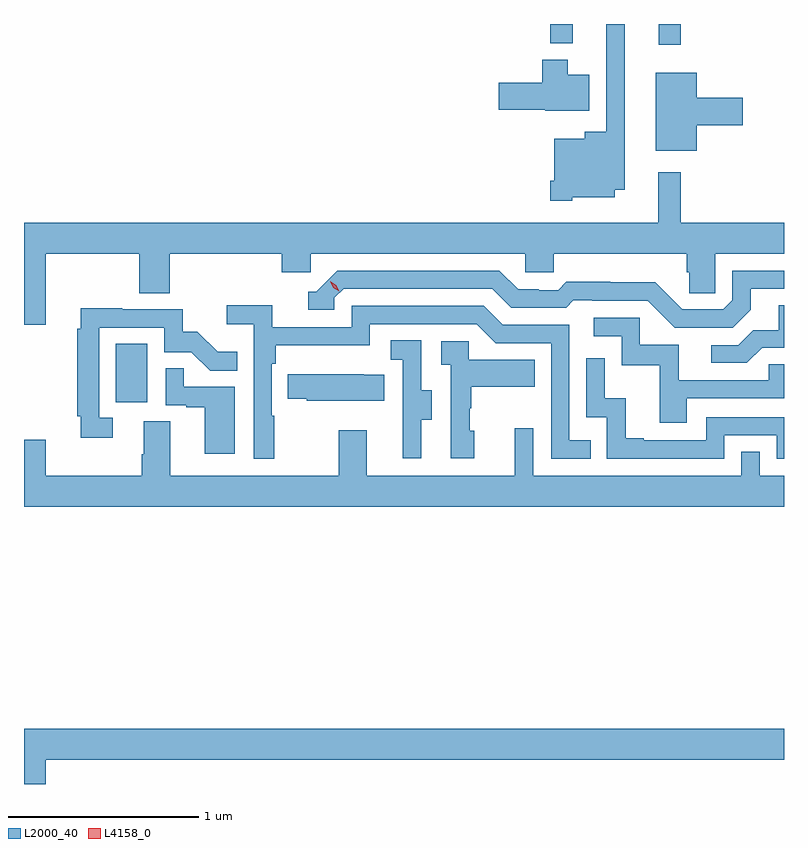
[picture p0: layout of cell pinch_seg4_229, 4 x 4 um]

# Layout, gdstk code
import gdstk
lib = gdstk.Library(unit=1e-6, precision=1e-09)
def R(c, l, rs):  # rectangles x0, y0, x1, y1
    for r in rs: c.add(gdstk.rectangle(r[:2], r[2:], *l))
def P(c, l, *ps):  # polygons
    for p in ps: c.add(gdstk.Polygon(p, *l))
L2000_40 = (2000, 40)
L4158_0 = (4158, 0)

pinch_seg4_229 = lib.new_cell('pinch_seg4_229')
R(pinch_seg4_229, L2000_40, [(896.81,822.678,896.974,822.985), (899.666,824.559,899.783,824.669), (899.095,824.567,899.213,824.669)])
P(pinch_seg4_229, L2000_40, [(899.211,823.757),(899.434,823.757),(899.434,823.796),(899.488,823.796),(899.488,824.669),(899.391,824.669),(899.391,824.101),(899.276,824.101),(899.276,824.065),(899.117,824.065),(899.117,823.843),(899.096,823.843),(899.096,823.739),(899.211,823.739)],
  [(899.302,824.401),(899.188,824.401),(899.188,824.482),(899.054,824.482),(899.054,824.361),(898.824,824.361),(898.824,824.219),(899.07,824.219),(899.07,824.213),(899.302,824.213)],
  [(899.866,824.135),(900.109,824.135),(900.109,824.282),(899.866,824.282),(899.866,824.413),(899.651,824.413),(899.651,824.003),(899.866,824.003)],
  [(896.44,823.46),(896.932,823.46),(896.932,823.252),(897.092,823.252),(897.092,823.46),(897.683,823.46),(897.683,823.362),(897.834,823.362),(897.834,823.46),(898.965,823.46),(898.965,823.362),(899.115,823.362),(899.115,823.46),(899.813,823.46),(899.813,823.362),(899.827,823.362),(899.827,823.252),(899.964,823.252),(899.964,823.46),(900.326,823.46),(900.326,823.624),(899.783,823.624),(899.783,823.888),(899.665,823.888),(899.665,823.624),(896.326,823.624),(896.326,823.086),(896.44,823.086)],
  [(900.151,823.165),(900.151,823.275),(900.326,823.275),(900.326,823.371),(900.054,823.371),(900.054,823.215),(900.006,823.167),(899.79,823.167),(899.648,823.309),(899.412,823.309),(899.412,823.312),(899.179,823.312),(899.137,823.269),(899.034,823.269),(899.034,823.272),(898.927,823.272),(898.828,823.371),(897.975,823.371),(897.864,823.26),(897.821,823.26),(897.821,823.164),(897.96,823.164),(897.96,823.227),(898.008,823.275),(898.791,823.275),(898.89,823.176),(899.179,823.176),(899.218,823.215),(899.317,823.215),(899.317,823.212),(899.61,823.212),(899.751,823.071),(900.057,823.071)],
  [(900.211,822.966),(900.326,822.966),(900.326,823.19),(900.299,823.19),(900.299,823.058),(900.164,823.058),(900.084,822.978),(899.943,822.978),(899.943,822.885),(900.13,822.885)],
  [(897.643,822.608),(897.63,822.608),(897.63,822.881),(897.65,822.881),(897.65,822.977),(898.146,822.977),(898.146,823.089),(898.71,823.089),(898.809,822.99),(899.1,822.99),(899.1,822.381),(899.309,822.381),(899.309,822.477),(899.196,822.477),(899.196,823.086),(898.846,823.086),(898.747,823.185),(898.05,823.185),(898.05,823.074),(897.632,823.074),(897.632,823.19),(897.393,823.19),(897.393,823.088),(897.534,823.088),(897.534,822.381),(897.643,822.381)],
  [(896.794,822.597),(896.721,822.597),(896.721,823.071),(897.063,823.071),(897.063,822.942),(897.207,822.942),(897.305,822.844),(897.449,822.844),(897.449,822.943),(897.345,822.943),(897.238,823.05),(897.162,823.05),(897.162,823.167),(896.843,823.167),(896.843,823.172),(896.624,823.172),(896.624,823.064),(896.605,823.064),(896.605,822.604),(896.624,822.604),(896.624,822.492),(896.794,822.492)],
  [(899.815,822.699),(900.326,822.699),(900.326,822.879),(900.247,822.879),(900.247,822.795),(899.773,822.795),(899.773,822.981),(899.568,822.981),(899.568,823.122),(899.325,823.122),(899.325,823.026),(899.472,823.026),(899.472,822.873),(899.671,822.873),(899.671,822.57),(899.815,822.57)],
  [(898.417,822.586),(898.471,822.586),(898.471,822.741),(898.416,822.741),(898.416,823.004),(898.257,823.004),(898.257,822.901),(898.32,822.901),(898.32,822.597),(898.319,822.597),(898.319,822.384),(898.417,822.384)],
  [(898.696,822.528),(898.671,822.528),(898.671,822.647),(898.681,822.647),(898.681,822.761),(899.015,822.761),(899.015,822.901),(898.668,822.901),(898.668,822.999),(898.521,822.999),(898.521,822.875),(898.572,822.875),(898.572,822.384),(898.696,822.384)],
  [(900.012,822.504),(900.288,822.504),(900.288,822.381),(900.326,822.381),(900.326,822.6),(899.916,822.6),(899.916,822.477),(899.587,822.477),(899.587,822.49),(899.492,822.49),(899.492,822.698),(899.382,822.698),(899.382,822.91),(899.286,822.91),(899.286,822.6),(899.394,822.6),(899.394,822.381),(900.012,822.381)],
  [(897.436,822.759),(897.167,822.759),(897.167,822.857),(897.072,822.857),(897.072,822.663),(897.179,822.663),(897.179,822.651),(897.278,822.651),(897.278,822.408),(897.436,822.408)],
  [(898.223,822.823),(898.115,822.823),(898.115,822.826),(897.715,822.826),(897.715,822.697),(897.813,822.697),(897.813,822.686),(898.223,822.686)],
  [(900.326,822.292),(900.198,822.292),(900.198,822.419),(900.102,822.419),(900.102,822.292),(899.007,822.292),(899.007,822.541),(898.91,822.541),(898.91,822.292),(898.129,822.292),(898.129,822.532),(897.982,822.532),(897.982,822.292),(897.097,822.292),(897.097,822.578),(896.957,822.578),(896.957,822.404),(896.945,822.404),(896.945,822.292),(896.44,822.292),(896.44,822.481),(896.326,822.481),(896.326,822.128),(900.326,822.128)],
  [(896.44,820.796),(900.326,820.796),(900.326,820.96),(896.326,820.96),(896.326,820.669),(896.44,820.669)])
P(pinch_seg4_229, L4158_0, [(897.985,823.262),(897.954,823.281),(897.938,823.314),(897.938,823.314),(897.938,823.314),(897.969,823.295),(897.986,823.263),(897.986,823.262)])

lib.write_gds('pinch_seg4_229.gds')
